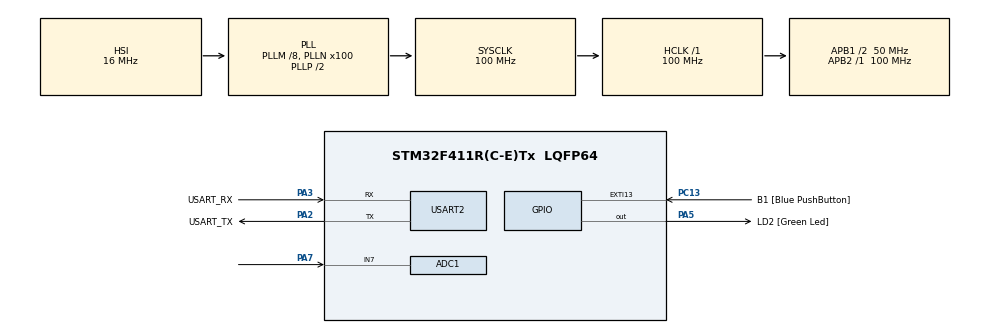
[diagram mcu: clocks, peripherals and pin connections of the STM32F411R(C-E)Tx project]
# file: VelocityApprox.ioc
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ADC1.Channel-4\#ChannelRegularConversion=ADC_CHANNEL_7
ADC1.ExternalTrigConv=ADC_EXTERNALTRIGCONV_T3_TRGO
ADC1.NbrOfConversionFlag=1
ADC1.Rank-4\#ChannelRegularConversion=1
ADC1.SamplingTime-4\#ChannelRegularConversion=ADC_SAMPLETIME_3CYCLES
ADC1.master=1
Mcu.Family=STM32F4
Mcu.Name=STM32F411R(C-E)Tx
Mcu.Package=LQFP64
NVIC.ADC_IRQn=true\:0\:0\:false\:false\:true\:true\:true
NVIC.PriorityGroup=NVIC_PRIORITYGROUP_0
PA13.GPIO_Label=TMS
PA13.Mode=Serial_Wire
PA13.Signal=SYS_JTMS-SWDIO
PA14.GPIO_Label=TCK
PA14.Mode=Serial_Wire
PA14.Signal=SYS_JTCK-SWCLK
PA2.GPIO_Label=USART_TX
PA2.Mode=Asynchronous
PA2.Signal=USART2_TX
PA3.GPIO_Label=USART_RX
PA3.Mode=Asynchronous
PA3.Signal=USART2_RX
PA5.GPIO_Label=LD2 [Green Led]
PA5.Signal=GPIO_Output
PA7.Signal=ADCx_IN7
PB3.GPIO_Label=SWO
PB3.Signal=SYS_JTDO-SWO
PC13-ANTI_TAMP.GPIO_Label=B1 [Blue PushButton]
PC13-ANTI_TAMP.GPIO_ModeDefaultEXTI=GPIO_MODE_IT_FALLING
PC13-ANTI_TAMP.Signal=GPXTI13
PC14-OSC32_IN.Mode=LSE-External-Oscillator
PC14-OSC32_IN.Signal=RCC_OSC32_IN
PC15-OSC32_OUT.Mode=LSE-External-Oscillator
PC15-OSC32_OUT.Signal=RCC_OSC32_OUT
PH0\ -\ OSC_IN.Mode=HSE-External-Clock-Source
PH0\ -\ OSC_IN.Signal=RCC_OSC_IN
PH1\ -\ OSC_OUT.Mode=HSE-External-Clock-Source
PH1\ -\ OSC_OUT.Signal=RCC_OSC_OUT
ProjectManager.HeapSize=0x200
ProjectManager.StackSize=0x400
ProjectManager.TargetToolchain=STM32CubeIDE
RCC.48MHZClocksFreq_Value=50000000
RCC.AHBFreq_Value=100000000
RCC.APB1CLKDivider=RCC_HCLK_DIV2
RCC.APB1Freq_Value=50000000
RCC.APB1TimFreq_Value=100000000
RCC.APB2Freq_Value=100000000
RCC.APB2TimFreq_Value=100000000
RCC.CortexFreq_Value=100000000
RCC.FLatency-AdvancedSettings=FLASH_LATENCY_3
RCC.HCLKFreq_Value=100000000
RCC.HSE_VALUE=8000000
RCC.HSI_VALUE=16000000
RCC.PLLM=8
RCC.PLLN=100
RCC.SYSCLKFreq_VALUE=100000000
RCC.SYSCLKSource=RCC_SYSCLKSOURCE_PLLCLK
RCC.VCOOutputFreq_Value=200000000
SH.ADCx_IN7.0=ADC1_IN7,IN7
TIM11.Prescaler=99
TIM3.Period=999
TIM3.Prescaler=999
TIM3.TIM_MasterOutputTrigger=TIM_TRGO_UPDATE
TIM3.TIM_MasterSlaveMode=TIM_MASTERSLAVEMODE_ENABLE
USART2.VirtualMode=VM_ASYNC
VP_TIM11_VS_ClockSourceINT.Mode=Enable_Timer
VP_TIM3_VS_ClockSourceINT.Mode=Internal
board=NUCLEO-F411RE

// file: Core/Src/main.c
/* USER CODE BEGIN Header */
/**
  ******************************************************************************
  * @file           : main.c
  * @brief          : Main program body
  ******************************************************************************
  * @attention
  *
  * Copyright (c) 2022 STMicroelectronics.
  * All rights reserved.
  *
  * This software is licensed under terms that can be found in the LICENSE file
  * in the root directory of this software component.
  * If no LICENSE file comes with this software, it is provided AS-IS.
  *
  ******************************************************************************
  */
/* USER CODE END Header */
#include "main.h"

ADC_HandleTypeDef hadc1;

TIM_HandleTypeDef htim3;
TIM_HandleTypeDef htim11;

UART_HandleTypeDef huart2;

/* USER CODE BEGIN PV */
uint8_t ADC_status = 0;
int32_t unfiltered[2] = { 0 };
float filtered[2] = { 0 };
float p_max = 4095.0;
uint16_t ADC_value[2] = { 0 };
float rad[2] = { 0 };
int32_t p_step = 0;
uint64_t _timer = 0;
float RC = 1.0/(2*1*22.0/7);
/* USER CODE END PV */

void SystemClock_Config(void);
static void MX_GPIO_Init(void);
static void MX_USART2_UART_Init(void);
static void MX_ADC1_Init(void);
static void MX_TIM3_Init(void);
static void MX_TIM11_Init(void);
/* USER CODE BEGIN PFP */
uint64_t micros();
/* USER CODE END PFP */

int main(void)
{

  /* MCU Configuration--------------------------------------------------------*/

  /* Reset of all peripherals, Initializes the Flash interface and the Systick. */
  HAL_Init();

  /* Configure the system clock */
  SystemClock_Config();

  /* Initialize all configured peripherals */
  MX_GPIO_Init();
  MX_USART2_UART_Init();
  MX_ADC1_Init();
  MX_TIM3_Init();
  MX_TIM11_Init();
  /* USER CODE BEGIN 2 */
  HAL_ADC_Start_IT(&hadc1);
  HAL_TIM_Base_Start(&htim3);
  HAL_TIM_Base_Start_IT(&htim11);
  /* USER CODE END 2 */

  /* Infinite loop */
  /* USER CODE BEGIN WHILE */
  while (1)
  {
	  static uint64_t timeStamp = 0;
	  static enum {init, run} STATE = init;
	  if(micros()-timeStamp>1000){
		  timeStamp = micros();
		  switch(STATE){
		  	  case init:
		  		  if(ADC_status){
		  			  ADC_status =0;
		  			  ADC_value[1]=ADC_value[0];
		  			  STATE = run;
		  		  }
		  		  break;
		  	  case run:
		  		  if(ADC_status){
		  		  ADC_status =0;
		  		  if(ADC_value[0]-ADC_value[1]<-2048){
		  			  p_step += 4095;
		  		  }
		  		  else if(ADC_value[0]-ADC_value[1]>=2048){
		  			  p_step -= 4095;
		  		  }
		  		  unfiltered[0] = ADC_value[0]+p_step;
		  		  //lowpass
		  		  filtered[0] = (0.01*unfiltered[0])/(0.01+RC)+(RC*filtered[1])/(0.01+RC);
		  		  //velocity
		  		  rad[0] = ((filtered[0]-filtered[1])/0.01)*(60.0/4095.0);
		  		  ADC_value[1]=ADC_value[0];
		  		  unfiltered[1]=unfiltered[0];
		  		  filtered[1]=filtered[0];
		  		  rad[1]=rad[0];
		  		  }
		  		  break;
		  	  }
	  }
    /* USER CODE END WHILE */

  }
}

void SystemClock_Config(void)
{
  RCC_OscInitTypeDef RCC_OscInitStruct = {0};
  RCC_ClkInitTypeDef RCC_ClkInitStruct = {0};

  /** Configure the main internal regulator output voltage
  */
  __HAL_RCC_PWR_CLK_ENABLE();
  __HAL_PWR_VOLTAGESCALING_CONFIG(PWR_REGULATOR_VOLTAGE_SCALE1);
  /** Initializes the RCC Oscillators according to the specified parameters
  * in the RCC_OscInitTypeDef structure.
  */
  RCC_OscInitStruct.OscillatorType = RCC_OSCILLATORTYPE_HSI;
  RCC_OscInitStruct.HSIState = RCC_HSI_ON;
  RCC_OscInitStruct.HSICalibrationValue = RCC_HSICALIBRATION_DEFAULT;
  RCC_OscInitStruct.PLL.PLLState = RCC_PLL_ON;
  RCC_OscInitStruct.PLL.PLLSource = RCC_PLLSOURCE_HSI;
  RCC_OscInitStruct.PLL.PLLM = 8;
  RCC_OscInitStruct.PLL.PLLN = 100;
  RCC_OscInitStruct.PLL.PLLP = RCC_PLLP_DIV2;
  RCC_OscInitStruct.PLL.PLLQ = 4;
  if (HAL_RCC_OscConfig(&RCC_OscInitStruct) != HAL_OK)
  {
    Error_Handler();
  }
  /** Initializes the CPU, AHB and APB buses clocks
  */
  RCC_ClkInitStruct.ClockType = RCC_CLOCKTYPE_HCLK|RCC_CLOCKTYPE_SYSCLK
                              |RCC_CLOCKTYPE_PCLK1|RCC_CLOCKTYPE_PCLK2;
  RCC_ClkInitStruct.SYSCLKSource = RCC_SYSCLKSOURCE_PLLCLK;
  RCC_ClkInitStruct.AHBCLKDivider = RCC_SYSCLK_DIV1;
  RCC_ClkInitStruct.APB1CLKDivider = RCC_HCLK_DIV2;
  RCC_ClkInitStruct.APB2CLKDivider = RCC_HCLK_DIV1;

  if (HAL_RCC_ClockConfig(&RCC_ClkInitStruct, FLASH_LATENCY_3) != HAL_OK)
  {
    Error_Handler();
  }
}

static void MX_ADC1_Init(void)
{

  ADC_ChannelConfTypeDef sConfig = {0};

  /** Configure the global features of the ADC (Clock, Resolution, Data Alignment and number of conversion)
  */
  hadc1.Instance = ADC1;
  hadc1.Init.ClockPrescaler = ADC_CLOCK_SYNC_PCLK_DIV4;
  hadc1.Init.Resolution = ADC_RESOLUTION_12B;
  hadc1.Init.ScanConvMode = DISABLE;
  hadc1.Init.ContinuousConvMode = DISABLE;
  hadc1.Init.DiscontinuousConvMode = DISABLE;
  hadc1.Init.ExternalTrigConvEdge = ADC_EXTERNALTRIGCONVEDGE_RISING;
  hadc1.Init.ExternalTrigConv = ADC_EXTERNALTRIGCONV_T3_TRGO;
  hadc1.Init.DataAlign = ADC_DATAALIGN_RIGHT;
  hadc1.Init.NbrOfConversion = 1;
  hadc1.Init.DMAContinuousRequests = DISABLE;
  hadc1.Init.EOCSelection = ADC_EOC_SINGLE_CONV;
  if (HAL_ADC_Init(&hadc1) != HAL_OK)
  {
    Error_Handler();
  }
  /** Configure for the selected ADC regular channel its corresponding rank in the sequencer and its sample time.
  */
  sConfig.Channel = ADC_CHANNEL_7;
  sConfig.Rank = 1;
  sConfig.SamplingTime = ADC_SAMPLETIME_3CYCLES;
  if (HAL_ADC_ConfigChannel(&hadc1, &sConfig) != HAL_OK)
  {
    Error_Handler();
  }

}

static void MX_TIM3_Init(void)
{

  TIM_ClockConfigTypeDef sClockSourceConfig = {0};
  TIM_MasterConfigTypeDef sMasterConfig = {0};

  htim3.Instance = TIM3;
  htim3.Init.Prescaler = 999;
  htim3.Init.CounterMode = TIM_COUNTERMODE_UP;
  htim3.Init.Period = 999;
  htim3.Init.ClockDivision = TIM_CLOCKDIVISION_DIV1;
  htim3.Init.AutoReloadPreload = TIM_AUTORELOAD_PRELOAD_DISABLE;
  if (HAL_TIM_Base_Init(&htim3) != HAL_OK)
  {
    Error_Handler();
  }
  sClockSourceConfig.ClockSource = TIM_CLOCKSOURCE_INTERNAL;
  if (HAL_TIM_ConfigClockSource(&htim3, &sClockSourceConfig) != HAL_OK)
  {
    Error_Handler();
  }
  sMasterConfig.MasterOutputTrigger = TIM_TRGO_UPDATE;
  sMasterConfig.MasterSlaveMode = TIM_MASTERSLAVEMODE_ENABLE;
  if (HAL_TIMEx_MasterConfigSynchronization(&htim3, &sMasterConfig) != HAL_OK)
  {
    Error_Handler();
  }

}

static void MX_TIM11_Init(void)
{

  htim11.Instance = TIM11;
  htim11.Init.Prescaler = 99;
  htim11.Init.CounterMode = TIM_COUNTERMODE_UP;
  htim11.Init.Period = 65535;
  htim11.Init.ClockDivision = TIM_CLOCKDIVISION_DIV1;
  htim11.Init.AutoReloadPreload = TIM_AUTORELOAD_PRELOAD_DISABLE;
  if (HAL_TIM_Base_Init(&htim11) != HAL_OK)
  {
    Error_Handler();
  }

}

static void MX_USART2_UART_Init(void)
{

  huart2.Instance = USART2;
  huart2.Init.BaudRate = 115200;
  huart2.Init.WordLength = UART_WORDLENGTH_8B;
  huart2.Init.StopBits = UART_STOPBITS_1;
  huart2.Init.Parity = UART_PARITY_NONE;
  huart2.Init.Mode = UART_MODE_TX_RX;
  huart2.Init.HwFlowCtl = UART_HWCONTROL_NONE;
  huart2.Init.OverSampling = UART_OVERSAMPLING_16;
  if (HAL_UART_Init(&huart2) != HAL_OK)
  {
    Error_Handler();
  }

}

static void MX_GPIO_Init(void)
{
  GPIO_InitTypeDef GPIO_InitStruct = {0};

  /* GPIO Ports Clock Enable */
  __HAL_RCC_GPIOC_CLK_ENABLE();
  __HAL_RCC_GPIOH_CLK_ENABLE();
  __HAL_RCC_GPIOA_CLK_ENABLE();
  __HAL_RCC_GPIOB_CLK_ENABLE();

  /*Configure GPIO pin Output Level */
  HAL_GPIO_WritePin(LD2_GPIO_Port, LD2_Pin, GPIO_PIN_RESET);

  /*Configure GPIO pin : B1_Pin */
  GPIO_InitStruct.Pin = B1_Pin;
  GPIO_InitStruct.Mode = GPIO_MODE_IT_FALLING;
  GPIO_InitStruct.Pull = GPIO_NOPULL;
  HAL_GPIO_Init(B1_GPIO_Port, &GPIO_InitStruct);

  /*Configure GPIO pin : LD2_Pin */
  GPIO_InitStruct.Pin = LD2_Pin;
  GPIO_InitStruct.Mode = GPIO_MODE_OUTPUT_PP;
  GPIO_InitStruct.Pull = GPIO_NOPULL;
  GPIO_InitStruct.Speed = GPIO_SPEED_FREQ_LOW;
  HAL_GPIO_Init(LD2_GPIO_Port, &GPIO_InitStruct);

}

/* USER CODE BEGIN 4 */
void HAL_ADC_ConvCpltCallback(ADC_HandleTypeDef *hadc)
{
	ADC_value[0] = HAL_ADC_GetValue(&hadc1);
	ADC_status = 1;
}

void HAL_TIM_PeriodElapsedCallback(TIM_HandleTypeDef *htim) {
	if (htim == &htim11) {
		_timer += 65535;
	}
}

uint64_t micros() {
	return _timer + htim11.Instance->CNT;
}
/* USER CODE END 4 */

void Error_Handler(void)
{
  __disable_irq();
  while (1)
  {
  }
}
